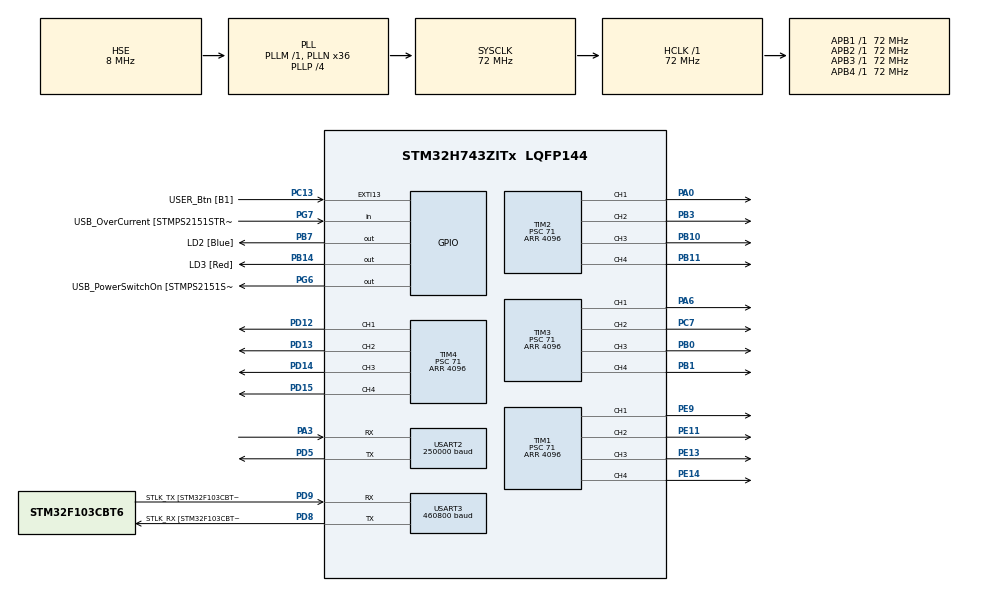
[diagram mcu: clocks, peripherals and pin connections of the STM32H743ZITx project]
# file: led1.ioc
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Mcu.Family=STM32H7
Mcu.Name=STM32H743ZITx
Mcu.Package=LQFP144
NVIC.PriorityGroup=NVIC_PRIORITYGROUP_4
NVIC.TIM16_IRQn=true\:0\:0\:false\:false\:true\:true\:true
PA0.Signal=S_TIM2_CH1
PA1.GPIO_Label=RMII_REF_CLK
PA1.Signal=ETH_REF_CLK
PA10.GPIO_Label=USB_ID
PA10.Signal=USB_OTG_FS_ID
PA11.GPIO_Label=USB_DM
PA11.Signal=USB_OTG_FS_DM
PA12.GPIO_Label=USB_DP
PA12.Signal=USB_OTG_FS_DP
PA2.GPIO_Label=RMII_MDIO
PA2.Signal=ETH_MDIO
PA3.Mode=Asynchronous
PA3.Signal=USART2_RX
PA6.GPIO_Speed=GPIO_SPEED_FREQ_HIGH
PA6.Signal=S_TIM3_CH1
PA7.GPIO_Label=RMII_CRS_DV
PA7.Signal=ETH_CRS_DV
PA8.GPIO_Label=USB_SOF [TP1]
PA8.Signal=USB_OTG_FS_SOF
PA9.GPIO_Label=USB_VBUS
PA9.Signal=USB_OTG_FS_VBUS
PB0.Signal=S_TIM3_CH3
PB1.Signal=S_TIM3_CH4
PB10.Signal=S_TIM2_CH3
PB11.Signal=S_TIM2_CH4
PB13.GPIO_Label=RMII_TXD1
PB13.Signal=ETH_TXD1
PB14.GPIO_Label=LD3 [Red]
PB14.Signal=GPIO_Output
PB3\ (JTDO/TRACESWO).Signal=S_TIM2_CH2
PB7.GPIO_Label=LD2 [Blue]
PB7.Signal=GPIO_Output
PC1.GPIO_Label=RMII_MDC
PC1.Signal=ETH_MDC
PC13.GPIO_Label=USER_Btn [B1]
PC13.Signal=GPXTI13
PC14-OSC32_IN\ (OSC32_IN).Mode=LSE-External-Oscillator
PC14-OSC32_IN\ (OSC32_IN).Signal=RCC_OSC32_IN
PC15-OSC32_OUT\ (OSC32_OUT).Mode=LSE-External-Oscillator
PC15-OSC32_OUT\ (OSC32_OUT).Signal=RCC_OSC32_OUT
PC4.GPIO_Label=RMII_RXD0
PC4.Signal=ETH_RXD0
PC5.GPIO_Label=RMII_RXD1
PC5.Signal=ETH_RXD1
PC7.Signal=S_TIM3_CH2
PD12.Signal=S_TIM4_CH1
PD13.Signal=S_TIM4_CH2
PD14.Signal=S_TIM4_CH3
PD15.Signal=S_TIM4_CH4
PD5.Mode=Asynchronous
PD5.Signal=USART2_TX
PD8.GPIO_Label=STLK_RX [STM32F103CBT6_PA3]
PD8.Mode=Asynchronous
PD8.Signal=USART3_TX
PD9.GPIO_Label=STLK_TX [STM32F103CBT6_PA2]
PD9.Mode=Asynchronous
PD9.Signal=USART3_RX
PE11.Signal=S_TIM1_CH2
PE13.Signal=S_TIM1_CH3
PE14.Signal=S_TIM1_CH4
PE9.Signal=S_TIM1_CH1
PG11.GPIO_Label=RMII_TX_EN
PG11.Signal=ETH_TX_EN
PG13.GPIO_Label=RMII_TXD0
PG13.Signal=ETH_TXD0
PG6.GPIO_Label=USB_PowerSwitchOn [STMPS2151STR_EN]
PG6.Signal=GPIO_Output
PG7.GPIO_Label=USB_OverCurrent [STMPS2151STR_FAULT]
PG7.Signal=GPIO_Input
PH0-OSC_IN\ (PH0).GPIO_Label=MCO
PH0-OSC_IN\ (PH0).Mode=HSE-External-Clock-Source
PH0-OSC_IN\ (PH0).Signal=RCC_OSC_IN
PH1-OSC_OUT\ (PH1).Mode=HSE-External-Clock-Source
PH1-OSC_OUT\ (PH1).Signal=RCC_OSC_OUT
ProjectManager.HeapSize=0x200
ProjectManager.StackSize=0x400
ProjectManager.TargetToolchain=SW4STM32
RCC.48MHZClocksFreq_Value=24000000
RCC.ADCFreq_Value=16125000
RCC.AHBFreq_Value=216000000
RCC.APB1CLKDivider=RCC_HCLK_DIV4
RCC.APB1Freq_Value=72000000
RCC.APB1TimFreq_Value=108000000
RCC.APB2CLKDivider=RCC_HCLK_DIV2
RCC.APB2Freq_Value=72000000
RCC.APB2TimFreq_Value=216000000
RCC.APB3Freq_Value=72000000
RCC.APB4Freq_Value=72000000
RCC.CortexFreq_Value=72000000
RCC.DIVM1=1
RCC.DIVN1=36
RCC.DIVP1=4
RCC.DIVQ1=4
RCC.HCLKFreq_Value=72000000
RCC.HSE_VALUE=8000000
RCC.HSI_VALUE=64000000
RCC.PLLM=25
RCC.PLLMUL=RCC_PLL_MUL9
RCC.PLLN=432
RCC.PLLQ=9
RCC.PLLSourceVirtual=RCC_PLLSOURCE_HSE
RCC.PRESCALERUSB=RCC_USBCLKSOURCE_PLL_DIV1_5
RCC.PWR_Regulator_Voltage_Scale=PWR_REGULATOR_VOLTAGE_SCALE1
RCC.SYSCLKFreq_VALUE=72000000
RCC.SYSCLKSource=RCC_SYSCLKSOURCE_PLLCLK
RCC.SYSCLKSourceVirtual=RCC_SYSCLKSOURCE_PLLCLK
RCC.USBFreq_Value=72000000
RCC.VCOOutputFreq_Value=432000000
SH.S_TIM1_CH1.0=TIM1_CH1,PWM Generation1 CH1
SH.S_TIM1_CH2.0=TIM1_CH2,PWM Generation2 CH2
SH.S_TIM1_CH3.0=TIM1_CH3,PWM Generation3 CH3
SH.S_TIM1_CH4.0=TIM1_CH4,Output Compare4 CH4
SH.S_TIM2_CH1.0=TIM2_CH1,PWM Generation1 CH1
SH.S_TIM2_CH2.0=TIM2_CH2,PWM Generation2 CH2
SH.S_TIM2_CH3.0=TIM2_CH3,PWM Generation3 CH3
SH.S_TIM2_CH4.0=TIM2_CH4,PWM Generation4 CH4
SH.S_TIM3_CH1.0=TIM3_CH1,PWM Generation1 CH1
SH.S_TIM3_CH2.0=TIM3_CH2,PWM Generation2 CH2
SH.S_TIM3_CH3.0=TIM3_CH3,PWM Generation3 CH3
SH.S_TIM3_CH4.0=TIM3_CH4,PWM Generation4 CH4
SH.S_TIM4_CH1.0=TIM4_CH1,PWM Generation1 CH1
SH.S_TIM4_CH2.0=TIM4_CH2,PWM Generation2 CH2
SH.S_TIM4_CH3.0=TIM4_CH3,PWM Generation3 CH3
SH.S_TIM4_CH4.0=TIM4_CH4,PWM Generation4 CH4
TIM1.Channel-Output\ Compare4\ CH4=TIM_CHANNEL_4
TIM1.Channel-PWM\ Generation1\ CH1=TIM_CHANNEL_1
TIM1.Channel-PWM\ Generation2\ CH2=TIM_CHANNEL_2
TIM1.Channel-PWM\ Generation3\ CH3=TIM_CHANNEL_3
TIM1.Period=4096
TIM1.Prescaler=71
TIM14.Period=30000
TIM14.Prescaler=71
TIM16.Period=30000
TIM16.Prescaler=71
TIM2.Channel-PWM\ Generation1\ CH1=TIM_CHANNEL_1
TIM2.Channel-PWM\ Generation2\ CH2=TIM_CHANNEL_2
TIM2.Channel-PWM\ Generation3\ CH3=TIM_CHANNEL_3
TIM2.Channel-PWM\ Generation4\ CH4=TIM_CHANNEL_4
TIM2.Period=4096
TIM2.Prescaler=71
TIM3.Channel-PWM\ Generation1\ CH1=TIM_CHANNEL_1
TIM3.Channel-PWM\ Generation2\ CH2=TIM_CHANNEL_2
TIM3.Channel-PWM\ Generation3\ CH3=TIM_CHANNEL_3
TIM3.Channel-PWM\ Generation4\ CH4=TIM_CHANNEL_4
TIM3.Period=4096
TIM3.Prescaler=71
TIM4.Channel-PWM\ Generation1\ CH1=TIM_CHANNEL_1
TIM4.Channel-PWM\ Generation2\ CH2=TIM_CHANNEL_2
TIM4.Channel-PWM\ Generation3\ CH3=TIM_CHANNEL_3
TIM4.Channel-PWM\ Generation4\ CH4=TIM_CHANNEL_4
TIM4.Period=4096
TIM4.Prescaler=71
USART2.BaudRate=250000
USART2.StopBits=STOPBITS_2
USART2.VirtualMode-Asynchronous=VM_ASYNC
USART3.BaudRate=460800
USART3.FIFOMode=FIFOMODE_ENABLE
USART3.VirtualMode-Asynchronous=VM_ASYNC
VP_TIM14_VS_ClockSourceINT.Mode=Enable_Timer
VP_TIM16_VS_ClockSourceINT.Mode=Enable_Timer
VP_TIM2_VS_ClockSourceINT.Mode=Internal
VP_TIM3_VS_ClockSourceINT.Mode=Internal
board=NUCLEO-H743ZI

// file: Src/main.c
/* USER CODE BEGIN Header */
/**
  ******************************************************************************
  * @file           : main.c
  * @brief          : Main program body
  ******************************************************************************
  * @attention
  *
  * <h2><center>&copy; Copyright (c) 2019 STMicroelectronics.
  * All rights reserved.</center></h2>
  *
  * This software component is licensed by ST under BSD 3-Clause license,
  * the "License"; You may not use this file except in compliance with the
  * License. You may obtain a copy of the License at:
  *                        opensource.org/licenses/BSD-3-Clause
  *
  ******************************************************************************
  */
/* USER CODE END Header */

#include "main.h"

TIM_HandleTypeDef htim1;
TIM_HandleTypeDef htim2;
TIM_HandleTypeDef htim3;
TIM_HandleTypeDef htim4;
TIM_HandleTypeDef htim14;
TIM_HandleTypeDef htim16;

UART_HandleTypeDef huart2;
UART_HandleTypeDef huart3;

/* USER CODE BEGIN PV */
/**
 * @brief Toggles the state of the run led.
 *
 * The run led indicates that the main loop of the application is still running.
 *
 * This method is implemented as a register call because it is highly
 * performance critical.
 *
 * This method is implemented as a define, to ensure that the code is inlined by
 * the compiler. This is done for performance reasons.
 *
 * GCC treats the inline keyword as an optimization hint. The compiler may still
 * ignore the keyword and not inline the function. This is avoided by using a
 * define.
 *
 * @param None.
 * @return None.
 */
#define toggle_runled() GPIOB->ODR ^= (1 << 14)

/**
 * @brief Toggles the state of the DE and (not)RE lines for USART1.
 *
 * This method is implemented as a register call because it is highly
 * performance critical.
 *
 * This method is implemented as a define, to ensure that the code is inlined by
 * the compiler. This is done for performance reasons.
 *
 * GCC treats the inline keyword as an optimization hint. The compiler may still
 * ignore the keyword and not inline the function. This is avoided by using a
 * define.
 *
 * @param None.
 * @return None.
 */
#define toggle_usart1_de_re() GPIOA->ODR ^= 0x0030

/**
 * @brief Brings the PA9 pin under the control of USART1.
 *
 * The DMX protocol requires a degree of control over the line that cannot be
 * achieved by use of a UART alone. The protocol requires that the line is
 * pulled low for a given amount of microseconds. Therefore, the PA9 pin is
 * switched between being controlled by the UART and as GPIO.
 *
 * This method is implemented as a register call because it is highly
 * performance critical.
 *
 * This method is implemented as a define, to ensure that the code is inlined by
 * the compiler. This is done for performance reasons.
 *
 * GCC treats the inline keyword as an optimization hint. The compiler may still
 * ignore the keyword and not inline the function. This is avoided by using a
 * define.
 *
 * @param None.
 * @return None.
 */
#define set_pa9_uart() { GPIOD->MODER |= (1 << 11); GPIOD->MODER &= ~(1 << 10); }

/**
 * @brief Brings the PA9 pin under the control of GPIO port A.
 *
 * The DMX protocol requires a degree of control over the line that cannot be
 * achieved by use of a UART alone. The protocol requires that the line is
 * pulled low for a given amount of microseconds. Therefore, the PA9 pin is
 * switched between being controlled by the UART and as GPIO.
 *
 * This method is implemented as a register call because it is highly
 * performance critical.
 *
 * This method is implemented as a define, to ensure that the code is inlined by
 * the compiler. This is done for performance reasons.
 *
 * GCC treats the inline keyword as an optimization hint. The compiler may still
 * ignore the keyword and not inline the function. This is avoided by using a
 * define.
 *
 * @param None.
 * @return None.
 */
#define set_pa9_gpio() { GPIOD->MODER |= (1 << 10); GPIOD->MODER &= ~(1 << 11); }

/**
 * @brief Blocks for X microseconds by using TIM2.
 *
 * The wait is achieved by setting up the timer TIM2, followed by enabling
 * the timer, and waiting until the timer period has lapsed. After the timer
 * period has lapsed, the timer is disabled again.
 *
 * This method is implemented as a register call because it is highly
 * performance critical.
 *
 * This method is implemented as a define, to ensure that the code is inlined by
 * the compiler. This is done for performance reasons.
 *
 * GCC treats the inline keyword as an optimization hint. The compiler may still
 * ignore the keyword and not inline the function. This is avoided by using a
 * define.
 *
 * @param X The amount of microseconds to block.
 * @return None.
 */
#define tim2_wait_usec(X) \
        TIM14->PSC = 71; \
        TIM14->ARR = X; \
        TIM14->CNT = 0; \
        TIM14->CR1 |= TIM_CR1_CEN; \
        while (TIM14->CNT != TIM14->ARR) { } \
TIM14->CR1 &= ~TIM_CR1_CEN

/**
* @brief Transmits the given byte over USART1 and waits until the transmit is
* complete.
*
* This implements a blocking send for USART1.
*
* This method is implemented as a register call because it is highly
* performance critical.
*
* This method is implemented as a define, to ensure that the code is inlined by
* the compiler. This is done for performance reasons.
*
* GCC treats the inline keyword as an optimization hint. The compiler may still
* ignore the keyword and not inline the function. This is avoided by using a
* define.
*
* @param X The byte to send out on USART1.
* @return None.
*/
#define usart1_tx_and_wait(X) \
        while(!(USART2->ISR & (1 << 23))) { } \
        USART2->TDR = X; \
        while(!(USART2->ISR & (1 << 6))) { }

/**
* @brief The DMX database.
*
* This database holds the byte value of all the channels in the DMX512
* protocol.
*
* Please note that there are 513 places in this buffer. The byte at position 0
* is the start code, which is always 0.
*
* See the DMX 512 spec for more information.
*/
uint8_t dmx_data[513];

/**
 * @brief Update flag. This flag indicates that the DMX devices in the
 * field must be updated.
 */
volatile uint8_t update;

/**
 * @brief Divider counter for the 25Hz signal.
 */
volatile uint8_t divider;

/**
 * @brief Flag indicating that the DMX packet was sent out over USART1
 */
volatile uint8_t dmx_sent;

/* USER CODE END PV */

void SystemClock_Config(void);
static void MX_GPIO_Init(void);
static void MX_USART2_UART_Init(void);
static void MX_USART3_UART_Init(void);
static void MX_TIM2_Init(void);
static void MX_TIM3_Init(void);
static void MX_TIM14_Init(void);
static void MX_TIM16_Init(void);
static void MX_TIM1_Init(void);
static void MX_TIM4_Init(void);
/* USER CODE BEGIN PFP */
enum operation {
    waiting,
    dmxd,
    unknown
};

uint8_t readUart() {
  while ((((&huart3)->Instance->ISR) & USART_ISR_RXNE_RXFNE) == 0) {}
  return huart3.Instance->RDR;
}

void writeAnalog(uint8_t channel, uint16_t value) {
  switch (channel) {
    case 0:
      htim1.Instance->CCR1 = value;
      break;
    case 1:
      htim1.Instance->CCR2 = value;
      break;
    case 2:
      htim1.Instance->CCR3 = value;
      break;
    case 3:
      htim1.Instance->CCR4 = value;
      break;
    case 4:
      htim2.Instance->CCR1 = value;
      break;
    case 5:
      htim2.Instance->CCR2 = value;
      break;
    case 6:
      htim2.Instance->CCR3 = value;
      break;
    case 7:
      htim2.Instance->CCR4 = value;
      break;
    case 8:
      htim3.Instance->CCR1 = value;
      break;
    case 9:
      htim3.Instance->CCR2 = value;
      break;
    case 10:
      htim3.Instance->CCR3 = value;
      break;
    case 11:
      htim3.Instance->CCR4 = value;
      break;
    case 12:
      htim4.Instance->CCR1 = value;
      break;
    case 13:
      htim4.Instance->CCR2 = value;
      break;
    case 14:
      htim4.Instance->CCR3 = value;
      break;
    case 15:
      htim4.Instance->CCR4 = value;
      break;
  }
}
/* USER CODE END PFP */

/* USER CODE BEGIN 0 */
float a_tlc = 7;
float a_dmx = 3;
/* USER CODE END 0 */

int main(void)
{

  /* MCU Configuration--------------------------------------------------------*/

  /* Reset of all peripherals, Initializes the Flash interface and the Systick. */
  HAL_Init();

  /* Configure the system clock */
  SystemClock_Config();

  /* USER CODE BEGIN SysInit */
  for (int i = 0; i < 513; i++) {
    dmx_data[i] = 0;
  }

  /* USER CODE END SysInit */

  /* Initialize all configured peripherals */
  MX_GPIO_Init();
  MX_USART2_UART_Init();
  MX_USART3_UART_Init();
  MX_TIM2_Init();
  MX_TIM3_Init();
  MX_TIM14_Init();
  MX_TIM16_Init();
  MX_TIM1_Init();
  MX_TIM4_Init();
  /* USER CODE BEGIN 2 */
  HAL_TIM_Base_Start_IT(&htim16);
  HAL_UART_Transmit(&huart3, "r&c", 3, 50);

  // Enable all the PWM channels
  HAL_TIM_PWM_Start(&htim1, TIM_CHANNEL_1);
  HAL_TIM_PWM_Start(&htim1, TIM_CHANNEL_2);
  HAL_TIM_PWM_Start(&htim1, TIM_CHANNEL_3);
  HAL_TIM_PWM_Start(&htim1, TIM_CHANNEL_4);
  HAL_TIM_PWM_Start(&htim2, TIM_CHANNEL_1);
  HAL_TIM_PWM_Start(&htim2, TIM_CHANNEL_2);
  HAL_TIM_PWM_Start(&htim2, TIM_CHANNEL_3);
  HAL_TIM_PWM_Start(&htim2, TIM_CHANNEL_4);
  HAL_TIM_PWM_Start(&htim3, TIM_CHANNEL_1);
  HAL_TIM_PWM_Start(&htim3, TIM_CHANNEL_2);
  HAL_TIM_PWM_Start(&htim3, TIM_CHANNEL_3);
  HAL_TIM_PWM_Start(&htim3, TIM_CHANNEL_4);
  HAL_TIM_PWM_Start(&htim4, TIM_CHANNEL_1);
  HAL_TIM_PWM_Start(&htim4, TIM_CHANNEL_2);
  HAL_TIM_PWM_Start(&htim4, TIM_CHANNEL_3);
  HAL_TIM_PWM_Start(&htim4, TIM_CHANNEL_4);

  uint8_t code;
  uint8_t op;

  enum operation status = waiting;

  uint16_t channel = 0;
  uint16_t start;
  uint8_t length;
  uint16_t value;

  /* USER CODE END 2 */

  /* Infinite loop */
  /* USER CODE BEGIN WHILE */
#pragma clang diagnostic push
#pragma clang diagnostic ignored "-Wmissing-noreturn"
  while (1) {
    //htim3.Instance->CCR1 = (htim3.Instance->CCR1 + 10) % 4096;
//      if (dmx_sent) {
//          toggle_runled();
//          dmx_sent = 0;
//      }

    code = readUart();

    if (code == 125) {
      // Operation code
      op = readUart();

      if (code == op) {
        // pass the code to the next command
      } else {
        status = waiting;
        if (op == 'f') {
          // full dmx package
          status = dmxd;
          channel = 0;
        }
        continue;
      }
    }

    if (status == dmxd) {
      if (channel >= 512) {
        channel = 0;
      }

      if (channel > 19) {
          float origin = code / 255.0;
          float inter = (exp(a_dmx*origin)-1)/(exp(a_dmx)-1);
          dmx_data[channel + 1] = 255 * inter;
      } else {
        HAL_GPIO_TogglePin(GPIOB, GPIO_PIN_7);
        float origin = code / 255.0;
        float inter = (exp(a_tlc*origin)-1)/(exp(a_tlc)-1);
        writeAnalog(channel, 4096 * inter);
      }
//      dmx_data[channel + 1] = code;
      channel++;
    }
    /* USER CODE END WHILE */

    /* USER CODE BEGIN 3 */
  }
#pragma clang diagnostic pop
  /* USER CODE END 3 */
}

void SystemClock_Config(void)
{
  RCC_OscInitTypeDef RCC_OscInitStruct = {0};
  RCC_ClkInitTypeDef RCC_ClkInitStruct = {0};
  RCC_PeriphCLKInitTypeDef PeriphClkInitStruct = {0};

  /** Supply configuration update enable
  */
  HAL_PWREx_ConfigSupply(PWR_LDO_SUPPLY);
  /** Configure the main internal regulator output voltage
  */
  __HAL_PWR_VOLTAGESCALING_CONFIG(PWR_REGULATOR_VOLTAGE_SCALE1);

  while(!__HAL_PWR_GET_FLAG(PWR_FLAG_VOSRDY)) {}
  /** Initializes the CPU, AHB and APB busses clocks
  */
  RCC_OscInitStruct.OscillatorType = RCC_OSCILLATORTYPE_HSE;
  RCC_OscInitStruct.HSEState = RCC_HSE_BYPASS;
  RCC_OscInitStruct.PLL.PLLState = RCC_PLL_ON;
  RCC_OscInitStruct.PLL.PLLSource = RCC_PLLSOURCE_HSE;
  RCC_OscInitStruct.PLL.PLLM = 1;
  RCC_OscInitStruct.PLL.PLLN = 36;
  RCC_OscInitStruct.PLL.PLLP = 4;
  RCC_OscInitStruct.PLL.PLLQ = 4;
  RCC_OscInitStruct.PLL.PLLR = 2;
  RCC_OscInitStruct.PLL.PLLRGE = RCC_PLL1VCIRANGE_3;
  RCC_OscInitStruct.PLL.PLLVCOSEL = RCC_PLL1VCOWIDE;
  RCC_OscInitStruct.PLL.PLLFRACN = 0;
  if (HAL_RCC_OscConfig(&RCC_OscInitStruct) != HAL_OK)
  {
    Error_Handler();
  }
  /** Initializes the CPU, AHB and APB busses clocks
  */
  RCC_ClkInitStruct.ClockType = RCC_CLOCKTYPE_HCLK|RCC_CLOCKTYPE_SYSCLK
                              |RCC_CLOCKTYPE_PCLK1|RCC_CLOCKTYPE_PCLK2
                              |RCC_CLOCKTYPE_D3PCLK1|RCC_CLOCKTYPE_D1PCLK1;
  RCC_ClkInitStruct.SYSCLKSource = RCC_SYSCLKSOURCE_PLLCLK;
  RCC_ClkInitStruct.SYSCLKDivider = RCC_SYSCLK_DIV1;
  RCC_ClkInitStruct.AHBCLKDivider = RCC_HCLK_DIV1;
  RCC_ClkInitStruct.APB3CLKDivider = RCC_APB3_DIV1;
  RCC_ClkInitStruct.APB1CLKDivider = RCC_APB1_DIV1;
  RCC_ClkInitStruct.APB2CLKDivider = RCC_APB2_DIV1;
  RCC_ClkInitStruct.APB4CLKDivider = RCC_APB4_DIV1;

  if (HAL_RCC_ClockConfig(&RCC_ClkInitStruct, FLASH_LATENCY_1) != HAL_OK)
  {
    Error_Handler();
  }
  PeriphClkInitStruct.PeriphClockSelection = RCC_PERIPHCLK_USART3|RCC_PERIPHCLK_USART2;
  PeriphClkInitStruct.Usart234578ClockSelection = RCC_USART234578CLKSOURCE_D2PCLK1;
  if (HAL_RCCEx_PeriphCLKConfig(&PeriphClkInitStruct) != HAL_OK)
  {
    Error_Handler();
  }
}

static void MX_TIM1_Init(void)
{

  TIM_MasterConfigTypeDef sMasterConfig = {0};
  TIM_OC_InitTypeDef sConfigOC = {0};
  TIM_BreakDeadTimeConfigTypeDef sBreakDeadTimeConfig = {0};

  htim1.Instance = TIM1;
  htim1.Init.Prescaler = 71;
  htim1.Init.CounterMode = TIM_COUNTERMODE_UP;
  htim1.Init.Period = 4096;
  htim1.Init.ClockDivision = TIM_CLOCKDIVISION_DIV1;
  htim1.Init.RepetitionCounter = 0;
  htim1.Init.AutoReloadPreload = TIM_AUTORELOAD_PRELOAD_DISABLE;
  if (HAL_TIM_PWM_Init(&htim1) != HAL_OK)
  {
    Error_Handler();
  }
  if (HAL_TIM_OC_Init(&htim1) != HAL_OK)
  {
    Error_Handler();
  }
  sMasterConfig.MasterOutputTrigger = TIM_TRGO_RESET;
  sMasterConfig.MasterOutputTrigger2 = TIM_TRGO2_RESET;
  sMasterConfig.MasterSlaveMode = TIM_MASTERSLAVEMODE_DISABLE;
  if (HAL_TIMEx_MasterConfigSynchronization(&htim1, &sMasterConfig) != HAL_OK)
  {
    Error_Handler();
  }
  sConfigOC.OCMode = TIM_OCMODE_PWM1;
  sConfigOC.Pulse = 0;
  sConfigOC.OCPolarity = TIM_OCPOLARITY_HIGH;
  sConfigOC.OCNPolarity = TIM_OCNPOLARITY_HIGH;
  sConfigOC.OCFastMode = TIM_OCFAST_DISABLE;
  sConfigOC.OCIdleState = TIM_OCIDLESTATE_RESET;
  sConfigOC.OCNIdleState = TIM_OCNIDLESTATE_RESET;
  if (HAL_TIM_PWM_ConfigChannel(&htim1, &sConfigOC, TIM_CHANNEL_1) != HAL_OK)
  {
    Error_Handler();
  }
  if (HAL_TIM_PWM_ConfigChannel(&htim1, &sConfigOC, TIM_CHANNEL_2) != HAL_OK)
  {
    Error_Handler();
  }
  if (HAL_TIM_PWM_ConfigChannel(&htim1, &sConfigOC, TIM_CHANNEL_3) != HAL_OK)
  {
    Error_Handler();
  }
  sConfigOC.OCMode = TIM_OCMODE_TIMING;
  if (HAL_TIM_OC_ConfigChannel(&htim1, &sConfigOC, TIM_CHANNEL_4) != HAL_OK)
  {
    Error_Handler();
  }
  sBreakDeadTimeConfig.OffStateRunMode = TIM_OSSR_DISABLE;
  sBreakDeadTimeConfig.OffStateIDLEMode = TIM_OSSI_DISABLE;
  sBreakDeadTimeConfig.LockLevel = TIM_LOCKLEVEL_OFF;
  sBreakDeadTimeConfig.DeadTime = 0;
  sBreakDeadTimeConfig.BreakState = TIM_BREAK_DISABLE;
  sBreakDeadTimeConfig.BreakPolarity = TIM_BREAKPOLARITY_HIGH;
  sBreakDeadTimeConfig.BreakFilter = 0;
  sBreakDeadTimeConfig.Break2State = TIM_BREAK2_DISABLE;
  sBreakDeadTimeConfig.Break2Polarity = TIM_BREAK2POLARITY_HIGH;
  sBreakDeadTimeConfig.Break2Filter = 0;
  sBreakDeadTimeConfig.AutomaticOutput = TIM_AUTOMATICOUTPUT_DISABLE;
  if (HAL_TIMEx_ConfigBreakDeadTime(&htim1, &sBreakDeadTimeConfig) != HAL_OK)
  {
    Error_Handler();
  }
  HAL_TIM_MspPostInit(&htim1);

}

static void MX_TIM2_Init(void)
{

  TIM_ClockConfigTypeDef sClockSourceConfig = {0};
  TIM_MasterConfigTypeDef sMasterConfig = {0};
  TIM_OC_InitTypeDef sConfigOC = {0};

  htim2.Instance = TIM2;
  htim2.Init.Prescaler = 71;
  htim2.Init.CounterMode = TIM_COUNTERMODE_UP;
  htim2.Init.Period = 4096;
  htim2.Init.ClockDivision = TIM_CLOCKDIVISION_DIV1;
  htim2.Init.AutoReloadPreload = TIM_AUTORELOAD_PRELOAD_DISABLE;
  if (HAL_TIM_Base_Init(&htim2) != HAL_OK)
  {
    Error_Handler();
  }
  sClockSourceConfig.ClockSource = TIM_CLOCKSOURCE_INTERNAL;
  if (HAL_TIM_ConfigClockSource(&htim2, &sClockSourceConfig) != HAL_OK)
  {
    Error_Handler();
  }
  if (HAL_TIM_PWM_Init(&htim2) != HAL_OK)
  {
    Error_Handler();
  }
  sMasterConfig.MasterOutputTrigger = TIM_TRGO_RESET;
  sMasterConfig.MasterSlaveMode = TIM_MASTERSLAVEMODE_DISABLE;
  if (HAL_TIMEx_MasterConfigSynchronization(&htim2, &sMasterConfig) != HAL_OK)
  {
    Error_Handler();
  }
  sConfigOC.OCMode = TIM_OCMODE_PWM1;
  sConfigOC.Pulse = 0;
  sConfigOC.OCPolarity = TIM_OCPOLARITY_HIGH;
  sConfigOC.OCFastMode = TIM_OCFAST_DISABLE;
  if (HAL_TIM_PWM_ConfigChannel(&htim2, &sConfigOC, TIM_CHANNEL_1) != HAL_OK)
  {
    Error_Handler();
  }
  if (HAL_TIM_PWM_ConfigChannel(&htim2, &sConfigOC, TIM_CHANNEL_2) != HAL_OK)
  {
    Error_Handler();
  }
  if (HAL_TIM_PWM_ConfigChannel(&htim2, &sConfigOC, TIM_CHANNEL_3) != HAL_OK)
  {
    Error_Handler();
  }
  if (HAL_TIM_PWM_ConfigChannel(&htim2, &sConfigOC, TIM_CHANNEL_4) != HAL_OK)
  {
    Error_Handler();
  }
  HAL_TIM_MspPostInit(&htim2);

}

static void MX_TIM3_Init(void)
{

  TIM_ClockConfigTypeDef sClockSourceConfig = {0};
  TIM_MasterConfigTypeDef sMasterConfig = {0};
  TIM_OC_InitTypeDef sConfigOC = {0};

  htim3.Instance = TIM3;
  htim3.Init.Prescaler = 71;
  htim3.Init.CounterMode = TIM_COUNTERMODE_UP;
  htim3.Init.Period = 4096;
  htim3.Init.ClockDivision = TIM_CLOCKDIVISION_DIV1;
  htim3.Init.AutoReloadPreload = TIM_AUTORELOAD_PRELOAD_DISABLE;
  if (HAL_TIM_Base_Init(&htim3) != HAL_OK)
  {
    Error_Handler();
  }
  sClockSourceConfig.ClockSource = TIM_CLOCKSOURCE_INTERNAL;
  if (HAL_TIM_ConfigClockSource(&htim3, &sClockSourceConfig) != HAL_OK)
  {
    Error_Handler();
  }
  if (HAL_TIM_PWM_Init(&htim3) != HAL_OK)
  {
    Error_Handler();
  }
  sMasterConfig.MasterOutputTrigger = TIM_TRGO_RESET;
  sMasterConfig.MasterSlaveMode = TIM_MASTERSLAVEMODE_DISABLE;
  if (HAL_TIMEx_MasterConfigSynchronization(&htim3, &sMasterConfig) != HAL_OK)
  {
    Error_Handler();
  }
  sConfigOC.OCMode = TIM_OCMODE_PWM1;
  sConfigOC.Pulse = 0;
  sConfigOC.OCPolarity = TIM_OCPOLARITY_HIGH;
  sConfigOC.OCFastMode = TIM_OCFAST_DISABLE;
  if (HAL_TIM_PWM_ConfigChannel(&htim3, &sConfigOC, TIM_CHANNEL_1) != HAL_OK)
  {
    Error_Handler();
  }
  if (HAL_TIM_PWM_ConfigChannel(&htim3, &sConfigOC, TIM_CHANNEL_2) != HAL_OK)
  {
    Error_Handler();
  }
  if (HAL_TIM_PWM_ConfigChannel(&htim3, &sConfigOC, TIM_CHANNEL_3) != HAL_OK)
  {
    Error_Handler();
  }
  if (HAL_TIM_PWM_ConfigChannel(&htim3, &sConfigOC, TIM_CHANNEL_4) != HAL_OK)
  {
    Error_Handler();
  }
  HAL_TIM_MspPostInit(&htim3);

}

static void MX_TIM4_Init(void)
{

  TIM_MasterConfigTypeDef sMasterConfig = {0};
  TIM_OC_InitTypeDef sConfigOC = {0};

  htim4.Instance = TIM4;
  htim4.Init.Prescaler = 71;
  htim4.Init.CounterMode = TIM_COUNTERMODE_UP;
  htim4.Init.Period = 4096;
  htim4.Init.ClockDivision = TIM_CLOCKDIVISION_DIV1;
  htim4.Init.AutoReloadPreload = TIM_AUTORELOAD_PRELOAD_DISABLE;
  if (HAL_TIM_PWM_Init(&htim4) != HAL_OK)
  {
    Error_Handler();
  }
  sMasterConfig.MasterOutputTrigger = TIM_TRGO_RESET;
  sMasterConfig.MasterSlaveMode = TIM_MASTERSLAVEMODE_DISABLE;
  if (HAL_TIMEx_MasterConfigSynchronization(&htim4, &sMasterConfig) != HAL_OK)
  {
    Error_Handler();
  }
  sConfigOC.OCMode = TIM_OCMODE_PWM1;
  sConfigOC.Pulse = 0;
  sConfigOC.OCPolarity = TIM_OCPOLARITY_HIGH;
  sConfigOC.OCFastMode = TIM_OCFAST_DISABLE;
  if (HAL_TIM_PWM_ConfigChannel(&htim4, &sConfigOC, TIM_CHANNEL_1) != HAL_OK)
  {
    Error_Handler();
  }
  if (HAL_TIM_PWM_ConfigChannel(&htim4, &sConfigOC, TIM_CHANNEL_2) != HAL_OK)
  {
    Error_Handler();
  }
  if (HAL_TIM_PWM_ConfigChannel(&htim4, &sConfigOC, TIM_CHANNEL_3) != HAL_OK)
  {
    Error_Handler();
  }
  if (HAL_TIM_PWM_ConfigChannel(&htim4, &sConfigOC, TIM_CHANNEL_4) != HAL_OK)
  {
    Error_Handler();
  }
  HAL_TIM_MspPostInit(&htim4);

}

static void MX_TIM14_Init(void)
{

  htim14.Instance = TIM14;
  htim14.Init.Prescaler = 71;
  htim14.Init.CounterMode = TIM_COUNTERMODE_UP;
  htim14.Init.Period = 30000;
  htim14.Init.ClockDivision = TIM_CLOCKDIVISION_DIV1;
  htim14.Init.AutoReloadPreload = TIM_AUTORELOAD_PRELOAD_DISABLE;
  if (HAL_TIM_Base_Init(&htim14) != HAL_OK)
  {
    Error_Handler();
  }

}

static void MX_TIM16_Init(void)
{

  htim16.Instance = TIM16;
  htim16.Init.Prescaler = 71;
  htim16.Init.CounterMode = TIM_COUNTERMODE_UP;
  htim16.Init.Period = 30000;
  htim16.Init.ClockDivision = TIM_CLOCKDIVISION_DIV1;
  htim16.Init.RepetitionCounter = 0;
  htim16.Init.AutoReloadPreload = TIM_AUTORELOAD_PRELOAD_DISABLE;
  if (HAL_TIM_Base_Init(&htim16) != HAL_OK)
  {
    Error_Handler();
  }

}

static void MX_USART2_UART_Init(void)
{

  huart2.Instance = USART2;
  huart2.Init.BaudRate = 250000;
  huart2.Init.WordLength = UART_WORDLENGTH_8B;
  huart2.Init.StopBits = UART_STOPBITS_2;
  huart2.Init.Parity = UART_PARITY_NONE;
  huart2.Init.Mode = UART_MODE_TX_RX;
  huart2.Init.HwFlowCtl = UART_HWCONTROL_NONE;
  huart2.Init.OverSampling = UART_OVERSAMPLING_16;
  huart2.Init.OneBitSampling = UART_ONE_BIT_SAMPLE_DISABLE;
  huart2.Init.ClockPrescaler = UART_PRESCALER_DIV1;
  huart2.AdvancedInit.AdvFeatureInit = UART_ADVFEATURE_NO_INIT;
  if (HAL_UART_Init(&huart2) != HAL_OK)
  {
    Error_Handler();
  }
  if (HAL_UARTEx_SetTxFifoThreshold(&huart2, UART_TXFIFO_THRESHOLD_1_8) != HAL_OK)
  {
    Error_Handler();
  }
  if (HAL_UARTEx_SetRxFifoThreshold(&huart2, UART_RXFIFO_THRESHOLD_1_8) != HAL_OK)
  {
    Error_Handler();
  }
  if (HAL_UARTEx_DisableFifoMode(&huart2) != HAL_OK)
  {
    Error_Handler();
  }

}

static void MX_USART3_UART_Init(void)
{

  huart3.Instance = USART3;
  huart3.Init.BaudRate = 230400;
  huart3.Init.WordLength = UART_WORDLENGTH_8B;
  huart3.Init.StopBits = UART_STOPBITS_1;
  huart3.Init.Parity = UART_PARITY_NONE;
  huart3.Init.Mode = UART_MODE_TX_RX;
  huart3.Init.HwFlowCtl = UART_HWCONTROL_NONE;
  huart3.Init.OverSampling = UART_OVERSAMPLING_16;
  huart3.Init.OneBitSampling = UART_ONE_BIT_SAMPLE_DISABLE;
  huart3.Init.ClockPrescaler = UART_PRESCALER_DIV1;
  huart3.AdvancedInit.AdvFeatureInit = UART_ADVFEATURE_NO_INIT;
  if (HAL_UART_Init(&huart3) != HAL_OK)
  {
    Error_Handler();
  }
  if (HAL_UARTEx_SetTxFifoThreshold(&huart3, UART_TXFIFO_THRESHOLD_1_8) != HAL_OK)
  {
    Error_Handler();
  }
  if (HAL_UARTEx_SetRxFifoThreshold(&huart3, UART_RXFIFO_THRESHOLD_1_8) != HAL_OK)
  {
    Error_Handler();
  }
  if (HAL_UARTEx_EnableFifoMode(&huart3) != HAL_OK)
  {
    Error_Handler();
  }

}

static void MX_GPIO_Init(void)
{
  GPIO_InitTypeDef GPIO_InitStruct = {0};

  /* GPIO Ports Clock Enable */
  __HAL_RCC_GPIOC_CLK_ENABLE();
  __HAL_RCC_GPIOH_CLK_ENABLE();
  __HAL_RCC_GPIOA_CLK_ENABLE();
  __HAL_RCC_GPIOB_CLK_ENABLE();
  __HAL_RCC_GPIOE_CLK_ENABLE();
  __HAL_RCC_GPIOD_CLK_ENABLE();
  __HAL_RCC_GPIOG_CLK_ENABLE();

  /*Configure GPIO pin Output Level */
  HAL_GPIO_WritePin(GPIOB, LD3_Pin|LD2_Pin, GPIO_PIN_RESET);

  /*Configure GPIO pin Output Level */
  HAL_GPIO_WritePin(USB_PowerSwitchOn_GPIO_Port, USB_PowerSwitchOn_Pin, GPIO_PIN_RESET);

  /*Configure GPIO pin : USER_Btn_Pin */
  GPIO_InitStruct.Pin = USER_Btn_Pin;
  GPIO_InitStruct.Mode = GPIO_MODE_IT_RISING;
  GPIO_InitStruct.Pull = GPIO_NOPULL;
  HAL_GPIO_Init(USER_Btn_GPIO_Port, &GPIO_InitStruct);

  /*Configure GPIO pins : RMII_MDC_Pin RMII_RXD0_Pin RMII_RXD1_Pin */
  GPIO_InitStruct.Pin = RMII_MDC_Pin|RMII_RXD0_Pin|RMII_RXD1_Pin;
  GPIO_InitStruct.Mode = GPIO_MODE_AF_PP;
  GPIO_InitStruct.Pull = GPIO_NOPULL;
  GPIO_InitStruct.Speed = GPIO_SPEED_FREQ_LOW;
  GPIO_InitStruct.Alternate = GPIO_AF11_ETH;
  HAL_GPIO_Init(GPIOC, &GPIO_InitStruct);

  /*Configure GPIO pins : RMII_REF_CLK_Pin RMII_MDIO_Pin RMII_CRS_DV_Pin */
  GPIO_InitStruct.Pin = RMII_REF_CLK_Pin|RMII_MDIO_Pin|RMII_CRS_DV_Pin;
  GPIO_InitStruct.Mode = GPIO_MODE_AF_PP;
  GPIO_InitStruct.Pull = GPIO_NOPULL;
  GPIO_InitStruct.Speed = GPIO_SPEED_FREQ_LOW;
  GPIO_InitStruct.Alternate = GPIO_AF11_ETH;
  HAL_GPIO_Init(GPIOA, &GPIO_InitStruct);

  /*Configure GPIO pin : RMII_TXD1_Pin */
  GPIO_InitStruct.Pin = RMII_TXD1_Pin;
  GPIO_InitStruct.Mode = GPIO_MODE_AF_PP;
  GPIO_InitStruct.Pull = GPIO_NOPULL;
  GPIO_InitStruct.Speed = GPIO_SPEED_FREQ_LOW;
  GPIO_InitStruct.Alternate = GPIO_AF11_ETH;
  HAL_GPIO_Init(RMII_TXD1_GPIO_Port, &GPIO_InitStruct);

  /*Configure GPIO pins : LD3_Pin LD2_Pin */
  GPIO_InitStruct.Pin = LD3_Pin|LD2_Pin;
  GPIO_InitStruct.Mode = GPIO_MODE_OUTPUT_PP;
  GPIO_InitStruct.Pull = GPIO_NOPULL;
  GPIO_InitStruct.Speed = GPIO_SPEED_FREQ_LOW;
  HAL_GPIO_Init(GPIOB, &GPIO_InitStruct);

  /*Configure GPIO pin : USB_PowerSwitchOn_Pin */
  GPIO_InitStruct.Pin = USB_PowerSwitchOn_Pin;
  GPIO_InitStruct.Mode = GPIO_MODE_OUTPUT_PP;
  GPIO_InitStruct.Pull = GPIO_NOPULL;
  GPIO_InitStruct.Speed = GPIO_SPEED_FREQ_LOW;
  HAL_GPIO_Init(USB_PowerSwitchOn_GPIO_Port, &GPIO_InitStruct);

  /*Configure GPIO pin : USB_OverCurrent_Pin */
  GPIO_InitStruct.Pin = USB_OverCurrent_Pin;
  GPIO_InitStruct.Mode = GPIO_MODE_INPUT;
  GPIO_InitStruct.Pull = GPIO_NOPULL;
  HAL_GPIO_Init(USB_OverCurrent_GPIO_Port, &GPIO_InitStruct);

  /*Configure GPIO pins : USB_SOF_Pin USB_ID_Pin USB_DM_Pin USB_DP_Pin */
  GPIO_InitStruct.Pin = USB_SOF_Pin|USB_ID_Pin|USB_DM_Pin|USB_DP_Pin;
  GPIO_InitStruct.Mode = GPIO_MODE_AF_PP;
  GPIO_InitStruct.Pull = GPIO_NOPULL;
  GPIO_InitStruct.Speed = GPIO_SPEED_FREQ_LOW;
  GPIO_InitStruct.Alternate = GPIO_AF10_OTG1_FS;
  HAL_GPIO_Init(GPIOA, &GPIO_InitStruct);

  /*Configure GPIO pins : RMII_TX_EN_Pin RMII_TXD0_Pin */
  GPIO_InitStruct.Pin = RMII_TX_EN_Pin|RMII_TXD0_Pin;
  GPIO_InitStruct.Mode = GPIO_MODE_AF_PP;
  GPIO_InitStruct.Pull = GPIO_NOPULL;
  GPIO_InitStruct.Speed = GPIO_SPEED_FREQ_LOW;
  GPIO_InitStruct.Alternate = GPIO_AF11_ETH;
  HAL_GPIO_Init(GPIOG, &GPIO_InitStruct);

}

/* USER CODE BEGIN 4 */
void dmx() {
  toggle_runled();

  // bring the TX pin under GPIO control
  // this has the added effect that the pin is low
  set_pa9_gpio();

  // set the DE and (not)RE lines high
  // toggle_usart1_de_re();

  // wait 88 microseconds for the DMX break
  tim2_wait_usec(84);

  // bring the TX pin under UART control
  // this has the added effect that the pin is high
  set_pa9_uart();

  // wait 8 microseconds for the MAB (Mark After Break)
  tim2_wait_usec(6);

  // transmit the DMX data

   HAL_UART_Transmit(&huart2, dmx_data, 50, HAL_MAX_DELAY);
  //for (uint16_t i = 0; i < 513; i++) {

  // transmit the byte with a blocking send
  //    usart1_tx_and_wait(dmx_data[i]);

  //}
/*
    // wait one additional character time before releasing the line
    tim2_wait_usec(44);*/

  dmx_sent = 1;
}
/* USER CODE END 4 */

void Error_Handler(void)
{
}

/************************ (C) COPYRIGHT STMicroelectronics *****END OF FILE****/
